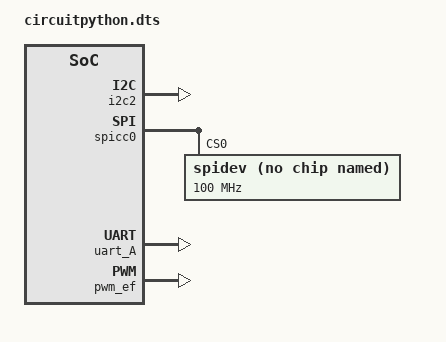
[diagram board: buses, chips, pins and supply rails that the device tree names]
/dts-v1/;
/plugin/;

/ {
	fragment@0 {
		target = <&i2c2>;

		__overlay__ {
			status = "okay";
		};
	};

	fragment@1 {
		target = <&spicc0>;

		__overlay__ {
			status = "okay";

			#address-cells = <1>;
			#size-cells = <0>;

			spidev: spidev@0 {
				status = "okay";
				compatible = "linux,spidev";
				reg = <0>;
				/* spi default max clock 100Mhz */
				spi-max-frequency = <100000000>;
			};
		};
	};

	fragment@2 {
		target = <&uart_A>;

		__overlay__ {
			status = "okay";
		};
	};

	fragment@3 {
		target = <&pwm_ef>;

		__overlay__ {
			status = "okay";
			pinctrl-names = "pwm_pins", "gpio_periphs";
			pinctrl-0 = <&pwm_e_pins &pwm_f_pins1>;
			pinctrl-1 = <&pwmef_to_gpios>;
		};
	};
};
